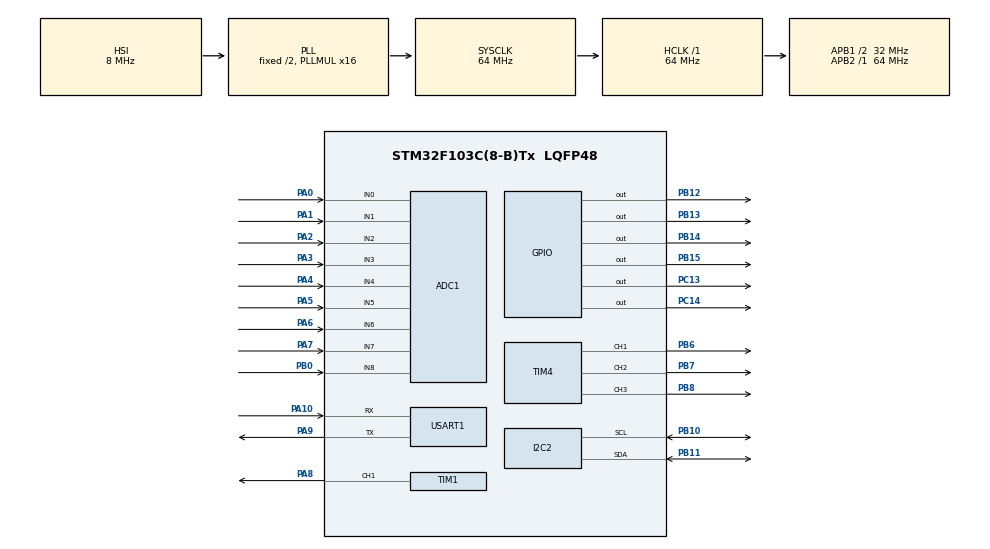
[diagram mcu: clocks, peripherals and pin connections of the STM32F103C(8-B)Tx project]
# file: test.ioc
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ADC1.Channel-0\#ChannelRegularConversion=ADC_CHANNEL_0
ADC1.Channel-1\#ChannelRegularConversion=ADC_CHANNEL_1
ADC1.Channel-2\#ChannelRegularConversion=ADC_CHANNEL_2
ADC1.Channel-3\#ChannelRegularConversion=ADC_CHANNEL_3
ADC1.Channel-4\#ChannelRegularConversion=ADC_CHANNEL_4
ADC1.Channel-5\#ChannelRegularConversion=ADC_CHANNEL_5
ADC1.Channel-6\#ChannelRegularConversion=ADC_CHANNEL_6
ADC1.Channel-7\#ChannelRegularConversion=ADC_CHANNEL_7
ADC1.Channel-8\#ChannelRegularConversion=ADC_CHANNEL_8
ADC1.ContinuousConvMode=DISABLE
ADC1.NbrOfConversion=9
ADC1.NbrOfConversionFlag=1
ADC1.Rank-0\#ChannelRegularConversion=1
ADC1.Rank-1\#ChannelRegularConversion=2
ADC1.Rank-2\#ChannelRegularConversion=3
ADC1.Rank-3\#ChannelRegularConversion=4
ADC1.Rank-4\#ChannelRegularConversion=5
ADC1.Rank-5\#ChannelRegularConversion=6
ADC1.Rank-6\#ChannelRegularConversion=7
ADC1.Rank-7\#ChannelRegularConversion=8
ADC1.Rank-8\#ChannelRegularConversion=9
ADC1.SamplingTime-0\#ChannelRegularConversion=ADC_SAMPLETIME_1CYCLE_5
ADC1.SamplingTime-1\#ChannelRegularConversion=ADC_SAMPLETIME_1CYCLE_5
ADC1.SamplingTime-2\#ChannelRegularConversion=ADC_SAMPLETIME_1CYCLE_5
ADC1.SamplingTime-3\#ChannelRegularConversion=ADC_SAMPLETIME_1CYCLE_5
ADC1.SamplingTime-4\#ChannelRegularConversion=ADC_SAMPLETIME_1CYCLE_5
ADC1.SamplingTime-5\#ChannelRegularConversion=ADC_SAMPLETIME_1CYCLE_5
ADC1.SamplingTime-6\#ChannelRegularConversion=ADC_SAMPLETIME_1CYCLE_5
ADC1.SamplingTime-7\#ChannelRegularConversion=ADC_SAMPLETIME_1CYCLE_5
ADC1.SamplingTime-8\#ChannelRegularConversion=ADC_SAMPLETIME_1CYCLE_5
ADC1.master=1
Dma.ADC1.0.Direction=DMA_PERIPH_TO_MEMORY
Dma.ADC1.0.Instance=DMA1_Channel1
Dma.ADC1.0.MemDataAlignment=DMA_MDATAALIGN_HALFWORD
Dma.ADC1.0.MemInc=DMA_MINC_ENABLE
Dma.ADC1.0.Mode=DMA_NORMAL
Dma.ADC1.0.PeriphDataAlignment=DMA_PDATAALIGN_HALFWORD
Dma.ADC1.0.PeriphInc=DMA_PINC_DISABLE
Dma.ADC1.0.Priority=DMA_PRIORITY_LOW
Dma.Request0=ADC1
Dma.Request1=USART1_RX
Dma.USART1_RX.1.Direction=DMA_PERIPH_TO_MEMORY
Dma.USART1_RX.1.Instance=DMA1_Channel5
Dma.USART1_RX.1.MemDataAlignment=DMA_MDATAALIGN_BYTE
Dma.USART1_RX.1.MemInc=DMA_MINC_ENABLE
Dma.USART1_RX.1.Mode=DMA_NORMAL
Dma.USART1_RX.1.PeriphDataAlignment=DMA_PDATAALIGN_BYTE
Dma.USART1_RX.1.PeriphInc=DMA_PINC_DISABLE
Dma.USART1_RX.1.Priority=DMA_PRIORITY_HIGH
I2C2.I2C_Mode=I2C_Fast
Mcu.Family=STM32F1
Mcu.Name=STM32F103C(8-B)Tx
Mcu.Package=LQFP48
NVIC.DMA1_Channel1_IRQn=true\:0\:0\:false\:false\:true\:false\:true\:true
NVIC.DMA1_Channel5_IRQn=true\:0\:0\:false\:false\:true\:false\:true\:true
NVIC.I2C2_ER_IRQn=true\:0\:0\:false\:false\:true\:true\:true\:true
NVIC.I2C2_EV_IRQn=true\:0\:0\:false\:false\:true\:true\:true\:true
NVIC.PriorityGroup=NVIC_PRIORITYGROUP_4
NVIC.USART1_IRQn=true\:0\:0\:true\:false\:true\:true\:true\:true
PA0-WKUP.Signal=ADCx_IN0
PA1.Signal=ADCx_IN1
PA10.Mode=Asynchronous
PA10.Signal=USART1_RX
PA13.Mode=Serial_Wire
PA13.Signal=SYS_JTMS-SWDIO
PA14.Mode=Serial_Wire
PA14.Signal=SYS_JTCK-SWCLK
PA2.Signal=ADCx_IN2
PA3.Signal=ADCx_IN3
PA4.Signal=ADCx_IN4
PA5.Signal=ADCx_IN5
PA6.Signal=ADCx_IN6
PA7.Signal=ADCx_IN7
PA8.Signal=S_TIM1_CH1
PA9.Mode=Asynchronous
PA9.Signal=USART1_TX
PB0.Signal=ADCx_IN8
PB10.Mode=I2C
PB10.Signal=I2C2_SCL
PB11.Mode=I2C
PB11.Signal=I2C2_SDA
PB12.Signal=GPIO_Output
PB13.Signal=GPIO_Output
PB14.Signal=GPIO_Output
PB15.Signal=GPIO_Output
PB6.Signal=S_TIM4_CH1
PB7.Signal=S_TIM4_CH2
PB8.Signal=S_TIM4_CH3
PC13-TAMPER-RTC.Signal=GPIO_Output
PC14-OSC32_IN.Signal=GPIO_Output
PD0-OSC_IN.Mode=HSE-External-Oscillator
PD0-OSC_IN.Signal=RCC_OSC_IN
PD1-OSC_OUT.Mode=HSE-External-Oscillator
PD1-OSC_OUT.Signal=RCC_OSC_OUT
ProjectManager.HeapSize=0x200
ProjectManager.StackSize=0x400
ProjectManager.TargetToolchain=STM32CubeIDE
RCC.ADCPresc=RCC_ADCPCLK2_DIV6
RCC.AHBFreq_Value=64000000
RCC.APB1CLKDivider=RCC_HCLK_DIV2
RCC.APB1Freq_Value=32000000
RCC.APB1TimFreq_Value=64000000
RCC.APB2Freq_Value=64000000
RCC.APB2TimFreq_Value=64000000
RCC.HCLKFreq_Value=64000000
RCC.PLLMUL=RCC_PLL_MUL16
RCC.SYSCLKFreq_VALUE=64000000
RCC.SYSCLKSource=RCC_SYSCLKSOURCE_PLLCLK
RCC.USBFreq_Value=64000000
SH.ADCx_IN0.0=ADC1_IN0,IN0
SH.ADCx_IN1.0=ADC1_IN1,IN1
SH.ADCx_IN2.0=ADC1_IN2,IN2
SH.ADCx_IN3.0=ADC1_IN3,IN3
SH.ADCx_IN4.0=ADC1_IN4,IN4
SH.ADCx_IN5.0=ADC1_IN5,IN5
SH.ADCx_IN6.0=ADC1_IN6,IN6
SH.ADCx_IN7.0=ADC1_IN7,IN7
SH.ADCx_IN8.0=ADC1_IN8,IN8
SH.S_TIM1_CH1.0=TIM1_CH1,PWM Generation1 CH1
SH.S_TIM4_CH1.0=TIM4_CH1,PWM Generation1 CH1
SH.S_TIM4_CH2.0=TIM4_CH2,PWM Generation2 CH2
SH.S_TIM4_CH3.0=TIM4_CH3,PWM Generation3 CH3
TIM1.Channel-PWM\ Generation1\ CH1=TIM_CHANNEL_1
TIM4.Channel-PWM\ Generation1\ CH1=TIM_CHANNEL_1
TIM4.Channel-PWM\ Generation2\ CH2=TIM_CHANNEL_2
TIM4.Channel-PWM\ Generation3\ CH3=TIM_CHANNEL_3
USART1.VirtualMode=VM_ASYNC
board=custom

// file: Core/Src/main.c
/* USER CODE BEGIN Header */
/**
  ******************************************************************************
  * @file           : main.c
  * @brief          : Main program body
  ******************************************************************************
  * @attention
  *
  * Copyright (c) 2023 STMicroelectronics.
  * All rights reserved.
  *
  * This software is licensed under terms that can be found in the LICENSE file
  * in the root directory of this software component.
  * If no LICENSE file comes with this software, it is provided AS-IS.
  *
  ******************************************************************************
  */
/* USER CODE END Header */
#include "main.h"

/* USER CODE BEGIN Includes */
#include "ssd1306.h"
#include "fonts.h"
#include "math.h"
/* USER CODE END Includes */

 ADC_HandleTypeDef hadc1;
DMA_HandleTypeDef hdma_adc1;

I2C_HandleTypeDef hi2c2;

TIM_HandleTypeDef htim1;
TIM_HandleTypeDef htim4;

UART_HandleTypeDef huart1;
DMA_HandleTypeDef hdma_usart1_rx;

/* USER CODE BEGIN PV */

uint8_t i2c_rx_data[32];
uint16_t checksum, signature, x_ball, y_ball, w, h;
uint8_t data, uart_rx_data[9];
int ball_angle , ball_dist, is_ball = 0;
int x_robot = 153 , y_robot = 120;
int v = 150;
int kick_cnt = 0, out_cnt = 0;
int shb,shr, shl, kf, kr, kb, kl, ball_in_kicker, kf_set=0, kr_set=0, kb_set=0, kl_set=0;
int pixy_updated = 0, GY_updated = 0;
#define LDR_Sens 200

int16_t Pitch=0, Roll=0, Heading=0;
uint16_t adc_result[9];
uint8_t GY_A5[] = {0xA5};
uint8_t GY_54[] = {0x54};
uint8_t GY_51[] = {0x51};
uint8_t GY_55[] = {0x55};
uint8_t GY_Init_Command[]    = {0xA5, 0x54, 0xA5, 0x51};
uint8_t GY_Request_Command[] = {0xA5, 0x51};
uint8_t set_compeleted = 0;
uint8_t i2c_tx_data[1] = {0};
#define RX2_Size 8
uint8_t Rx2_Buff[RX2_Size];

void delay(int sec){
	for(register long int i=0; i<sec; i++);
}
void initGY(){
	HAL_Delay(500);
	HAL_UART_Transmit(&huart1, GY_A5, 1, 100);
	HAL_UART_Transmit(&huart1, GY_54, 1, 100);
	HAL_Delay(500);
	HAL_UART_Transmit(&huart1, GY_A5, 1, 100);
	HAL_UART_Transmit(&huart1, GY_51, 1, 100);
	HAL_Delay(500);
	HAL_UART_Transmit(&huart1, GY_A5, 1, 100);
	HAL_UART_Transmit(&huart1, GY_55, 1, 100);
}
void readGY(){
	HAL_UART_Transmit(&huart1, GY_Request_Command, 2, 100);
	HAL_UART_Receive(&huart1, uart_rx_data, 8, 100);
	if(uart_rx_data[0] == 0x55) {
		Heading = (int16_t)(uart_rx_data[2]<<8 | uart_rx_data[3])/100.00;
		Pitch = (int16_t)(uart_rx_data[4]<<8 | uart_rx_data[5])/100.00;
		Roll = (int16_t)(uart_rx_data[6]<<8 | uart_rx_data[7])/100.00;
	}else if(uart_rx_data[0] == 0xaa) {
		Heading = (int16_t)(uart_rx_data[1]<<8 | uart_rx_data[2])/100.00;
		Pitch = (int16_t)(uart_rx_data[3]<<8 | uart_rx_data[4])/100.00;
		Roll = (int16_t)(uart_rx_data[5]<<8 | uart_rx_data[6])/100.00;
	}
}
void motor(int L1 , int L2 , int R2 , int R1){
	L1 += Heading;
	L2 += Heading;
	R1 += Heading;
	R2 += Heading;

	R1=R1*255;
	R2=R2*255;
	L1=L1*255;
	L2=L2*255;
	if (R1 > 65535) R1 = 65535;
	if (R2 > 65535) R2 = 65535;
	if (L1 > 65535) L1 = 65535;
	if (L2 > 65535) L2 = 65535;
	if (R1 < -65535) R1 = -65535;
	if (R2 < -65535) R2 = -65535;
	if (L1 < -65535) L1 = -65535;
	if (L2 < -65535) L2 = -65535;

	////////////////L1:
	if(L1 > 0){
		HAL_GPIO_WritePin(GPIOB, GPIO_PIN_15, 0);
		TIM1->CCR1=L1;
	}
	else{
		HAL_GPIO_WritePin(GPIOB, GPIO_PIN_15, 1);
		TIM1->CCR1=L1+65535;
	}
	////////////////L2:
	if(L2 > 0){
		HAL_GPIO_WritePin(GPIOB, GPIO_PIN_14, 0);
		TIM4->CCR3=L2;
	}
	else{
		HAL_GPIO_WritePin(GPIOB, GPIO_PIN_14, 1);
		TIM4->CCR3=L2+65535;
	}
	////////////////R2:
	if(R2 > 0){
		HAL_GPIO_WritePin(GPIOB, GPIO_PIN_13, 0);
		TIM4->CCR2=R2;
	}
	else{
		HAL_GPIO_WritePin(GPIOB, GPIO_PIN_13, 1);
		TIM4->CCR2=R2+65535;
	}
	////////////////R1:
	if(R1 > 0){
		HAL_GPIO_WritePin(GPIOB, GPIO_PIN_12, 0);
		TIM4->CCR1=R1;
	}
	else{
		HAL_GPIO_WritePin(GPIOB, GPIO_PIN_12, 1);
		TIM4->CCR1=R1+65535;
	}
}
void read_pixy(){
    is_ball = 0;
	if (HAL_I2C_Master_Transmit(&hi2c2, 0x54 << 1, i2c_tx_data, sizeof(i2c_tx_data), 100) != HAL_OK)
	{
		Error_Handler();
	}
	if (HAL_I2C_Master_Receive(&hi2c2, 0x54 << 1,i2c_rx_data, sizeof(i2c_rx_data), 100) == HAL_OK){
		for (int i = 0; i < sizeof(i2c_rx_data)-1; i++) {
			if(i2c_rx_data[i] == 0x55 && i2c_rx_data[i+1] == 0xaa){
				is_ball = 1;
				checksum  = i2c_rx_data[i+2]  | (i2c_rx_data[i+3] << 8);
				signature = i2c_rx_data[i+4]  | (i2c_rx_data[i+5] << 8);
				x_ball    = i2c_rx_data[i+6]  | (i2c_rx_data[i+7] << 8);
				y_ball 	  = i2c_rx_data[i+8]  | (i2c_rx_data[i+9] << 8);
				w 		  = i2c_rx_data[i+10] | (i2c_rx_data[i+11] << 8);
				h 		  = i2c_rx_data[i+12] | (i2c_rx_data[i+13] << 8);
				ball_angle     = atan2(y_ball - y_robot, x_robot - x_ball) * 180 / M_PI;
//				ball_angle     = ball_angle + 180;
				if(ball_angle < 0)   ball_angle = ball_angle + 360;
				ball_dist = sqrt(pow(x_robot - x_ball , 2) + pow(y_robot - y_ball , 2));
			}
		}
	}
	HAL_Delay(1);
}
void stop(){
	motor(0,0,0,0);
}
void move(int a){
	if(a>360)     a-=360;
	if(a<0)       a+=360;
	int x = v * cos(a * M_PI / 180);
	int y = v * sin(a * M_PI / 180);
	motor((x + y) , (x - y) , (- x - y), (y - x));

}
void moveForSec(int angle, int sec){
	for(int i=0; i<sec; i++){
		read_pixy();
		move(angle);
	}
}
void moveInside(){
	if (kf > LDR_Sens && kr > LDR_Sens) 		move(225);
	else if (kf > LDR_Sens && kl > LDR_Sens) 	move(135);
	else if (kb > LDR_Sens && kr > LDR_Sens) 	move(315);
	else if (kb > LDR_Sens && kl > LDR_Sens) 	move(45);
	else if (kf > LDR_Sens) 					move(180);
	else if (kb > LDR_Sens) 					move(0);
	else if (kr > LDR_Sens) 					move(270);
	else if (kl > LDR_Sens) 					move(90);
	else stop();
}
void OUT(){
	out_cnt = 0;
	v = 190;
	if(kf > LDR_Sens && kr > LDR_Sens){
		moveForSec(225 , 10);
		while((ball_angle < 170 || ball_angle > 280) && is_ball == 1 && out_cnt < 100){
			read_pixy();
			if(kf > LDR_Sens || kr > LDR_Sens || kb > LDR_Sens || kl > LDR_Sens)	 moveInside();
			else 																	 stop();
			out_cnt++;
		}
	}
	if(kf > LDR_Sens && kl > LDR_Sens){
		moveForSec(135 , 10);
		while((ball_angle < 80 || ball_angle > 190) && is_ball == 1 && out_cnt < 100){
			read_pixy();
			if(kf > LDR_Sens || kr > LDR_Sens || kb > LDR_Sens || kl > LDR_Sens)	 moveInside();
			else 																	 stop();
			out_cnt++;
		}
	}
	if(kb > LDR_Sens && kr > LDR_Sens){
		moveForSec(315 , 10);
		while((ball_angle < 260 || ball_angle > 10) && is_ball == 1 && out_cnt < 100){
			read_pixy();
			if(kf > LDR_Sens || kr > LDR_Sens || kb > LDR_Sens || kl > LDR_Sens)	 moveInside();
			else 																	 stop();
			out_cnt++;
		}
	}
	if(kb > LDR_Sens && kl > LDR_Sens){
		moveForSec(45 , 10);
		while((ball_angle < 170 || ball_angle > 100) && is_ball == 1 && out_cnt < 100){
			read_pixy();
			if(kf > LDR_Sens || kr > LDR_Sens || kb > LDR_Sens || kl > LDR_Sens)	 moveInside();
			else 																	 stop();
			out_cnt++;
		}
	}
	if(kf > LDR_Sens){
		moveForSec(180 , 15);
		while((ball_angle < 90 || ball_angle > 270) && is_ball == 1 && out_cnt < 100){
			read_pixy();
			if(kf > LDR_Sens || kr > LDR_Sens || kb > LDR_Sens || kl > LDR_Sens)	 moveInside();
			else 																	 stop();
			out_cnt++;
		}
	}
	if(kb > LDR_Sens){
		moveForSec(0 , 15);
		while((ball_angle < 270 || ball_angle > 90) && is_ball == 1 && out_cnt < 100){
			read_pixy();
			if(kf > LDR_Sens || kr > LDR_Sens || kb > LDR_Sens || kl > LDR_Sens)	 moveInside();
			else 																	 stop();
			out_cnt++;
		}
	}
	if(kr > LDR_Sens){
		moveForSec(270 , 10);
		while((ball_angle < 180) && is_ball == 1 && out_cnt < 100){
			read_pixy();
			if(kf > LDR_Sens || kr > LDR_Sens || kb > LDR_Sens || kl > LDR_Sens)	 moveInside();
			else 																	 stop();
			out_cnt++;
		}
	}
	if(kl > LDR_Sens){
		moveForSec(90 , 10);
		while((ball_angle > 180) && is_ball == 1 && out_cnt < 100){
			read_pixy();
			if(kf > LDR_Sens || kr > LDR_Sens || kb > LDR_Sens || kl > LDR_Sens)	 moveInside();
			else 																	 stop();
			out_cnt++;
		}
	}
}
void print_num(char* label, int num, int x, int y){
	SSD1306_GotoXY(x, y);
	SSD1306_Puts(label, &Font_7x10, SSD1306_COLOR_WHITE);
	if(num >= 0){
		SSD1306_Putc('+', &Font_7x10, SSD1306_COLOR_WHITE);
		SSD1306_Putc((num/1000)%10+'0', &Font_7x10, SSD1306_COLOR_WHITE);
		SSD1306_Putc((num/100)%10+'0', &Font_7x10, SSD1306_COLOR_WHITE);
		SSD1306_Putc((num/10)%10+'0', &Font_7x10, SSD1306_COLOR_WHITE);
		SSD1306_Putc((num/1)%10+'0', &Font_7x10, SSD1306_COLOR_WHITE);
	}else{
		SSD1306_Putc('-', &Font_7x10, SSD1306_COLOR_WHITE);
		SSD1306_Putc((-num/1000)%10+'0', &Font_7x10, SSD1306_COLOR_WHITE);
		SSD1306_Putc((-num/100)%10+'0', &Font_7x10, SSD1306_COLOR_WHITE);
		SSD1306_Putc((-num/10)%10+'0', &Font_7x10, SSD1306_COLOR_WHITE);
		SSD1306_Putc((-num/1)%10+'0', &Font_7x10, SSD1306_COLOR_WHITE);
	}
}
void spin(int spin){
	if      (spin==1)  		 HAL_GPIO_WritePin(GPIOC, GPIO_PIN_14, 1);
	else if (spin==0)		 HAL_GPIO_WritePin(GPIOC, GPIO_PIN_14, 0);
}
void shift(){
	if (is_ball){
		//kick_cnt=0
		if(ball_dist > 58){ //far
			v = 150;
			move(ball_angle);
			spin(0);

		}
		else {//near
			v = 100;
			spin(1);
			if 		(ball_angle<10 || ball_angle > 350)   move(ball_angle);
			else if (ball_angle<30)       				  move(ball_angle+20);
			else if (ball_angle<90)       				  move(ball_angle+50);
			else if (ball_angle<180)       				  move(ball_angle+80);
			else if (ball_angle<270)       				  move(ball_angle-80);
			else if (ball_angle<330)       				  move(ball_angle-25);
			else if (ball_angle<=360)       			  move(ball_angle-20);
		}
	}
	else {
	//	kick_cnt = 0;
		spin(0);
		stop();
	}

}
void HAL_ADC_ConvCpltCallback(ADC_HandleTypeDef* hadc){
	shb = adc_result[8];
	shr = adc_result[0];
	shl = adc_result[1];
	kf = adc_result[3] - kf_set;
	kr = adc_result[4] - kr_set;
	kb = adc_result[5] - kb_set;
	kl = adc_result[6] - kl_set;
	ball_in_kicker = adc_result[2];
	__NOP();
}
//void HAL_I2C_MasterTxCpltCallback (I2C_HandleTypeDef * hi2c)
//{
//	HAL_I2C_Master_Receive_IT(&hi2c2, 0x54 << 1, i2c_rx_data, sizeof(i2c_rx_data));
//
//}
void HAL_I2C_MasterRxCpltCallback (I2C_HandleTypeDef * hi2c)
{
	is_ball = 0;
	for (int i = 0; i < sizeof(i2c_rx_data)-1; i++) {
		if(i2c_rx_data[i] == 0x55 && i2c_rx_data[i+1] == 0xaa){
			is_ball = 1;
			checksum  = i2c_rx_data[i+2]  | (i2c_rx_data[i+3] << 8);
			signature = i2c_rx_data[i+4]  | (i2c_rx_data[i+5] << 8);
			x_ball    = i2c_rx_data[i+6]  | (i2c_rx_data[i+7] << 8);
			y_ball 	  = i2c_rx_data[i+8]  | (i2c_rx_data[i+9] << 8);
			w 		  = i2c_rx_data[i+10] | (i2c_rx_data[i+11] << 8);
			h 		  = i2c_rx_data[i+12] | (i2c_rx_data[i+13] << 8);
			ball_angle     = atan2(y_ball - y_robot, x_robot - x_ball) * 180 / M_PI;
			if(ball_angle < 0)   ball_angle = ball_angle + 360;
			ball_dist = sqrt(pow(x_robot - x_ball , 2) + pow(y_robot - y_ball , 2));
		}
	}
	pixy_updated = 0;
}
void HAL_UARTEx_RxEventCallback(UART_HandleTypeDef *huart, uint16_t Size){
	HAL_GPIO_WritePin(GPIOC, GPIO_PIN_13, 0);
	for(int i=0; i<RX2_Size; i++){
		if(Rx2_Buff[i] == 0xAA){
			Heading = (int16_t)(Rx2_Buff[(i+1)%8]<<8 | Rx2_Buff[(i+2)%8])/100.00;
			Pitch = (int16_t)(Rx2_Buff[(i+3)%8]<<8 | Rx2_Buff[(i+4)%8])/100.00;
			Roll = (int16_t)(Rx2_Buff[(i+5)%8]<<8 | Rx2_Buff[(i+6)%8])/100.00;
		}
	}
	HAL_UART_Transmit(&huart1, GY_Request_Command, 2, PHY_FULLDUPLEX_10M);
	HAL_UARTEx_ReceiveToIdle_DMA(&huart1, Rx2_Buff, RX2_Size);
	__HAL_DMA_DISABLE_IT(&hdma_usart1_rx, DMA_IT_HT);
}

/* USER CODE END PV */

void SystemClock_Config(void);
static void MX_GPIO_Init(void);
static void MX_TIM1_Init(void);
static void MX_TIM4_Init(void);
static void MX_I2C2_Init(void);
static void MX_DMA_Init(void);
static void MX_USART1_UART_Init(void);
static void MX_ADC1_Init(void);

int main(void)
{

  /* MCU Configuration--------------------------------------------------------*/

  /* Reset of all peripherals, Initializes the Flash interface and the Systick. */
  HAL_Init();

  /* Configure the system clock */
  SystemClock_Config();

  /* Initialize all configured peripherals */
  MX_GPIO_Init();
  MX_TIM1_Init();
  MX_TIM4_Init();
  MX_I2C2_Init();
  MX_DMA_Init();
  MX_USART1_UART_Init();
  MX_ADC1_Init();
  /* USER CODE BEGIN 2 */
  HAL_TIM_PWM_Start(&htim1, TIM_CHANNEL_1);
  HAL_TIM_PWM_Start(&htim4, TIM_CHANNEL_3);
  HAL_TIM_PWM_Start(&htim4, TIM_CHANNEL_2);
  HAL_TIM_PWM_Start(&htim4, TIM_CHANNEL_1);
   HAL_Delay(2000);
   SSD1306_Init();

   initGY();

   HAL_ADC_Start(&hadc1);
   kf_set = 900;
   kr_set = 1300;
   kb_set = 250;
   kl_set = 500;
   i2c_tx_data[0] = 0x54;
   HAL_GPIO_WritePin(GPIOC, GPIO_PIN_13, 1);
   HAL_Delay(500);
   HAL_UART_Transmit(&huart1, GY_Request_Command, 2, PHY_FULLDUPLEX_10M);
   HAL_UARTEx_ReceiveToIdle_DMA(&huart1, Rx2_Buff, RX2_Size);
   __HAL_DMA_DISABLE_IT(&hdma_usart1_rx, DMA_IT_HT);
  /* USER CODE END 2 */

  /* Infinite loop */
  /* USER CODE BEGIN WHILE */
  while (1)
  {
	HAL_ADC_Start_DMA(&hadc1, (uint32_t*)adc_result, 9);
	if(pixy_updated == 0) {
		HAL_I2C_Master_Transmit(&hi2c2, 0x54 << 1, i2c_tx_data, sizeof(i2c_tx_data), 100);
		HAL_I2C_Master_Receive_IT(&hi2c2, 0x54 << 1, i2c_rx_data, sizeof(i2c_rx_data));
		pixy_updated = 1;
	}
//	OUT();
//	shift();
	print_num("SI:", signature,  5, 10);
	print_num("XB:", x_ball,     5, 20);
	print_num("YB:", y_ball,     5, 30);
	print_num("BA:", ball_angle, 5, 40);
	print_num("GY:", Heading,    5, 50);
	print_num("KF:", kf,	    64, 10);
	print_num("KL:", kl,	    64, 20);
	print_num("KR:", kr,	    64, 30);
	print_num("KB:", kb,	    64, 40);

	SSD1306_UpdateScreen();
	//else 		stop();

    /* USER CODE END WHILE */

  }
}

void SystemClock_Config(void)
{
  RCC_OscInitTypeDef RCC_OscInitStruct = {0};
  RCC_ClkInitTypeDef RCC_ClkInitStruct = {0};
  RCC_PeriphCLKInitTypeDef PeriphClkInit = {0};

  /** Initializes the RCC Oscillators according to the specified parameters
  * in the RCC_OscInitTypeDef structure.
  */
  RCC_OscInitStruct.OscillatorType = RCC_OSCILLATORTYPE_HSI;
  RCC_OscInitStruct.HSIState = RCC_HSI_ON;
  RCC_OscInitStruct.HSICalibrationValue = RCC_HSICALIBRATION_DEFAULT;
  RCC_OscInitStruct.PLL.PLLState = RCC_PLL_ON;
  RCC_OscInitStruct.PLL.PLLSource = RCC_PLLSOURCE_HSI_DIV2;
  RCC_OscInitStruct.PLL.PLLMUL = RCC_PLL_MUL16;
  if (HAL_RCC_OscConfig(&RCC_OscInitStruct) != HAL_OK)
  {
    Error_Handler();
  }

  /** Initializes the CPU, AHB and APB buses clocks
  */
  RCC_ClkInitStruct.ClockType = RCC_CLOCKTYPE_HCLK|RCC_CLOCKTYPE_SYSCLK
                              |RCC_CLOCKTYPE_PCLK1|RCC_CLOCKTYPE_PCLK2;
  RCC_ClkInitStruct.SYSCLKSource = RCC_SYSCLKSOURCE_PLLCLK;
  RCC_ClkInitStruct.AHBCLKDivider = RCC_SYSCLK_DIV1;
  RCC_ClkInitStruct.APB1CLKDivider = RCC_HCLK_DIV2;
  RCC_ClkInitStruct.APB2CLKDivider = RCC_HCLK_DIV1;

  if (HAL_RCC_ClockConfig(&RCC_ClkInitStruct, FLASH_LATENCY_2) != HAL_OK)
  {
    Error_Handler();
  }
  PeriphClkInit.PeriphClockSelection = RCC_PERIPHCLK_ADC;
  PeriphClkInit.AdcClockSelection = RCC_ADCPCLK2_DIV6;
  if (HAL_RCCEx_PeriphCLKConfig(&PeriphClkInit) != HAL_OK)
  {
    Error_Handler();
  }
}

static void MX_ADC1_Init(void)
{

  ADC_ChannelConfTypeDef sConfig = {0};

  /** Common config
  */
  hadc1.Instance = ADC1;
  hadc1.Init.ScanConvMode = ADC_SCAN_ENABLE;
  hadc1.Init.ContinuousConvMode = DISABLE;
  hadc1.Init.DiscontinuousConvMode = DISABLE;
  hadc1.Init.ExternalTrigConv = ADC_SOFTWARE_START;
  hadc1.Init.DataAlign = ADC_DATAALIGN_RIGHT;
  hadc1.Init.NbrOfConversion = 9;
  if (HAL_ADC_Init(&hadc1) != HAL_OK)
  {
    Error_Handler();
  }

  /** Configure Regular Channel
  */
  sConfig.Channel = ADC_CHANNEL_0;
  sConfig.Rank = ADC_REGULAR_RANK_1;
  sConfig.SamplingTime = ADC_SAMPLETIME_1CYCLE_5;
  if (HAL_ADC_ConfigChannel(&hadc1, &sConfig) != HAL_OK)
  {
    Error_Handler();
  }

  /** Configure Regular Channel
  */
  sConfig.Channel = ADC_CHANNEL_1;
  sConfig.Rank = ADC_REGULAR_RANK_2;
  if (HAL_ADC_ConfigChannel(&hadc1, &sConfig) != HAL_OK)
  {
    Error_Handler();
  }

  /** Configure Regular Channel
  */
  sConfig.Channel = ADC_CHANNEL_2;
  sConfig.Rank = ADC_REGULAR_RANK_3;
  if (HAL_ADC_ConfigChannel(&hadc1, &sConfig) != HAL_OK)
  {
    Error_Handler();
  }

  /** Configure Regular Channel
  */
  sConfig.Channel = ADC_CHANNEL_3;
  sConfig.Rank = ADC_REGULAR_RANK_4;
  if (HAL_ADC_ConfigChannel(&hadc1, &sConfig) != HAL_OK)
  {
    Error_Handler();
  }

  /** Configure Regular Channel
  */
  sConfig.Channel = ADC_CHANNEL_4;
  sConfig.Rank = ADC_REGULAR_RANK_5;
  if (HAL_ADC_ConfigChannel(&hadc1, &sConfig) != HAL_OK)
  {
    Error_Handler();
  }

  /** Configure Regular Channel
  */
  sConfig.Channel = ADC_CHANNEL_5;
  sConfig.Rank = ADC_REGULAR_RANK_6;
  if (HAL_ADC_ConfigChannel(&hadc1, &sConfig) != HAL_OK)
  {
    Error_Handler();
  }

  /** Configure Regular Channel
  */
  sConfig.Channel = ADC_CHANNEL_6;
  sConfig.Rank = ADC_REGULAR_RANK_7;
  if (HAL_ADC_ConfigChannel(&hadc1, &sConfig) != HAL_OK)
  {
    Error_Handler();
  }

  /** Configure Regular Channel
  */
  sConfig.Channel = ADC_CHANNEL_7;
  sConfig.Rank = ADC_REGULAR_RANK_8;
  if (HAL_ADC_ConfigChannel(&hadc1, &sConfig) != HAL_OK)
  {
    Error_Handler();
  }

  /** Configure Regular Channel
  */
  sConfig.Channel = ADC_CHANNEL_8;
  sConfig.Rank = ADC_REGULAR_RANK_9;
  if (HAL_ADC_ConfigChannel(&hadc1, &sConfig) != HAL_OK)
  {
    Error_Handler();
  }

}

static void MX_I2C2_Init(void)
{

  hi2c2.Instance = I2C2;
  hi2c2.Init.ClockSpeed = 400000;
  hi2c2.Init.DutyCycle = I2C_DUTYCYCLE_2;
  hi2c2.Init.OwnAddress1 = 0;
  hi2c2.Init.AddressingMode = I2C_ADDRESSINGMODE_7BIT;
  hi2c2.Init.DualAddressMode = I2C_DUALADDRESS_DISABLE;
  hi2c2.Init.OwnAddress2 = 0;
  hi2c2.Init.GeneralCallMode = I2C_GENERALCALL_DISABLE;
  hi2c2.Init.NoStretchMode = I2C_NOSTRETCH_DISABLE;
  if (HAL_I2C_Init(&hi2c2) != HAL_OK)
  {
    Error_Handler();
  }

}

static void MX_TIM1_Init(void)
{

  TIM_MasterConfigTypeDef sMasterConfig = {0};
  TIM_OC_InitTypeDef sConfigOC = {0};
  TIM_BreakDeadTimeConfigTypeDef sBreakDeadTimeConfig = {0};

  htim1.Instance = TIM1;
  htim1.Init.Prescaler = 0;
  htim1.Init.CounterMode = TIM_COUNTERMODE_UP;
  htim1.Init.Period = 65535;
  htim1.Init.ClockDivision = TIM_CLOCKDIVISION_DIV1;
  htim1.Init.RepetitionCounter = 0;
  htim1.Init.AutoReloadPreload = TIM_AUTORELOAD_PRELOAD_DISABLE;
  if (HAL_TIM_PWM_Init(&htim1) != HAL_OK)
  {
    Error_Handler();
  }
  sMasterConfig.MasterOutputTrigger = TIM_TRGO_RESET;
  sMasterConfig.MasterSlaveMode = TIM_MASTERSLAVEMODE_DISABLE;
  if (HAL_TIMEx_MasterConfigSynchronization(&htim1, &sMasterConfig) != HAL_OK)
  {
    Error_Handler();
  }
  sConfigOC.OCMode = TIM_OCMODE_PWM1;
  sConfigOC.Pulse = 0;
  sConfigOC.OCPolarity = TIM_OCPOLARITY_HIGH;
  sConfigOC.OCNPolarity = TIM_OCNPOLARITY_HIGH;
  sConfigOC.OCFastMode = TIM_OCFAST_DISABLE;
  sConfigOC.OCIdleState = TIM_OCIDLESTATE_RESET;
  sConfigOC.OCNIdleState = TIM_OCNIDLESTATE_RESET;
  if (HAL_TIM_PWM_ConfigChannel(&htim1, &sConfigOC, TIM_CHANNEL_1) != HAL_OK)
  {
    Error_Handler();
  }
  sBreakDeadTimeConfig.OffStateRunMode = TIM_OSSR_DISABLE;
  sBreakDeadTimeConfig.OffStateIDLEMode = TIM_OSSI_DISABLE;
  sBreakDeadTimeConfig.LockLevel = TIM_LOCKLEVEL_OFF;
  sBreakDeadTimeConfig.DeadTime = 0;
  sBreakDeadTimeConfig.BreakState = TIM_BREAK_DISABLE;
  sBreakDeadTimeConfig.BreakPolarity = TIM_BREAKPOLARITY_HIGH;
  sBreakDeadTimeConfig.AutomaticOutput = TIM_AUTOMATICOUTPUT_DISABLE;
  if (HAL_TIMEx_ConfigBreakDeadTime(&htim1, &sBreakDeadTimeConfig) != HAL_OK)
  {
    Error_Handler();
  }
  HAL_TIM_MspPostInit(&htim1);

}

static void MX_TIM4_Init(void)
{

  TIM_MasterConfigTypeDef sMasterConfig = {0};
  TIM_OC_InitTypeDef sConfigOC = {0};

  htim4.Instance = TIM4;
  htim4.Init.Prescaler = 0;
  htim4.Init.CounterMode = TIM_COUNTERMODE_UP;
  htim4.Init.Period = 65535;
  htim4.Init.ClockDivision = TIM_CLOCKDIVISION_DIV1;
  htim4.Init.AutoReloadPreload = TIM_AUTORELOAD_PRELOAD_DISABLE;
  if (HAL_TIM_PWM_Init(&htim4) != HAL_OK)
  {
    Error_Handler();
  }
  sMasterConfig.MasterOutputTrigger = TIM_TRGO_RESET;
  sMasterConfig.MasterSlaveMode = TIM_MASTERSLAVEMODE_DISABLE;
  if (HAL_TIMEx_MasterConfigSynchronization(&htim4, &sMasterConfig) != HAL_OK)
  {
    Error_Handler();
  }
  sConfigOC.OCMode = TIM_OCMODE_PWM1;
  sConfigOC.Pulse = 0;
  sConfigOC.OCPolarity = TIM_OCPOLARITY_HIGH;
  sConfigOC.OCFastMode = TIM_OCFAST_DISABLE;
  if (HAL_TIM_PWM_ConfigChannel(&htim4, &sConfigOC, TIM_CHANNEL_1) != HAL_OK)
  {
    Error_Handler();
  }
  if (HAL_TIM_PWM_ConfigChannel(&htim4, &sConfigOC, TIM_CHANNEL_2) != HAL_OK)
  {
    Error_Handler();
  }
  if (HAL_TIM_PWM_ConfigChannel(&htim4, &sConfigOC, TIM_CHANNEL_3) != HAL_OK)
  {
    Error_Handler();
  }
  HAL_TIM_MspPostInit(&htim4);

}

static void MX_USART1_UART_Init(void)
{

  huart1.Instance = USART1;
  huart1.Init.BaudRate = 115200;
  huart1.Init.WordLength = UART_WORDLENGTH_8B;
  huart1.Init.StopBits = UART_STOPBITS_1;
  huart1.Init.Parity = UART_PARITY_NONE;
  huart1.Init.Mode = UART_MODE_TX_RX;
  huart1.Init.HwFlowCtl = UART_HWCONTROL_NONE;
  huart1.Init.OverSampling = UART_OVERSAMPLING_16;
  if (HAL_UART_Init(&huart1) != HAL_OK)
  {
    Error_Handler();
  }

}

static void MX_DMA_Init(void)
{

  /* DMA controller clock enable */
  __HAL_RCC_DMA1_CLK_ENABLE();

  /* DMA interrupt init */
  /* DMA1_Channel1_IRQn interrupt configuration */
  HAL_NVIC_SetPriority(DMA1_Channel1_IRQn, 0, 0);
  HAL_NVIC_EnableIRQ(DMA1_Channel1_IRQn);
  /* DMA1_Channel5_IRQn interrupt configuration */
  HAL_NVIC_SetPriority(DMA1_Channel5_IRQn, 0, 0);
  HAL_NVIC_EnableIRQ(DMA1_Channel5_IRQn);

}

static void MX_GPIO_Init(void)
{
  GPIO_InitTypeDef GPIO_InitStruct = {0};

  /* GPIO Ports Clock Enable */
  __HAL_RCC_GPIOC_CLK_ENABLE();
  __HAL_RCC_GPIOD_CLK_ENABLE();
  __HAL_RCC_GPIOA_CLK_ENABLE();
  __HAL_RCC_GPIOB_CLK_ENABLE();

  /*Configure GPIO pin Output Level */
  HAL_GPIO_WritePin(GPIOC, GPIO_PIN_13|GPIO_PIN_14, GPIO_PIN_RESET);

  /*Configure GPIO pin Output Level */
  HAL_GPIO_WritePin(GPIOB, GPIO_PIN_12|GPIO_PIN_13|GPIO_PIN_14|GPIO_PIN_15, GPIO_PIN_RESET);

  /*Configure GPIO pins : PC13 PC14 */
  GPIO_InitStruct.Pin = GPIO_PIN_13|GPIO_PIN_14;
  GPIO_InitStruct.Mode = GPIO_MODE_OUTPUT_PP;
  GPIO_InitStruct.Pull = GPIO_NOPULL;
  GPIO_InitStruct.Speed = GPIO_SPEED_FREQ_LOW;
  HAL_GPIO_Init(GPIOC, &GPIO_InitStruct);

  /*Configure GPIO pins : PB12 PB13 PB14 PB15 */
  GPIO_InitStruct.Pin = GPIO_PIN_12|GPIO_PIN_13|GPIO_PIN_14|GPIO_PIN_15;
  GPIO_InitStruct.Mode = GPIO_MODE_OUTPUT_PP;
  GPIO_InitStruct.Pull = GPIO_NOPULL;
  GPIO_InitStruct.Speed = GPIO_SPEED_FREQ_LOW;
  HAL_GPIO_Init(GPIOB, &GPIO_InitStruct);

}

void Error_Handler(void)
{
  __disable_irq();
  while (1)
  {
  }
}
